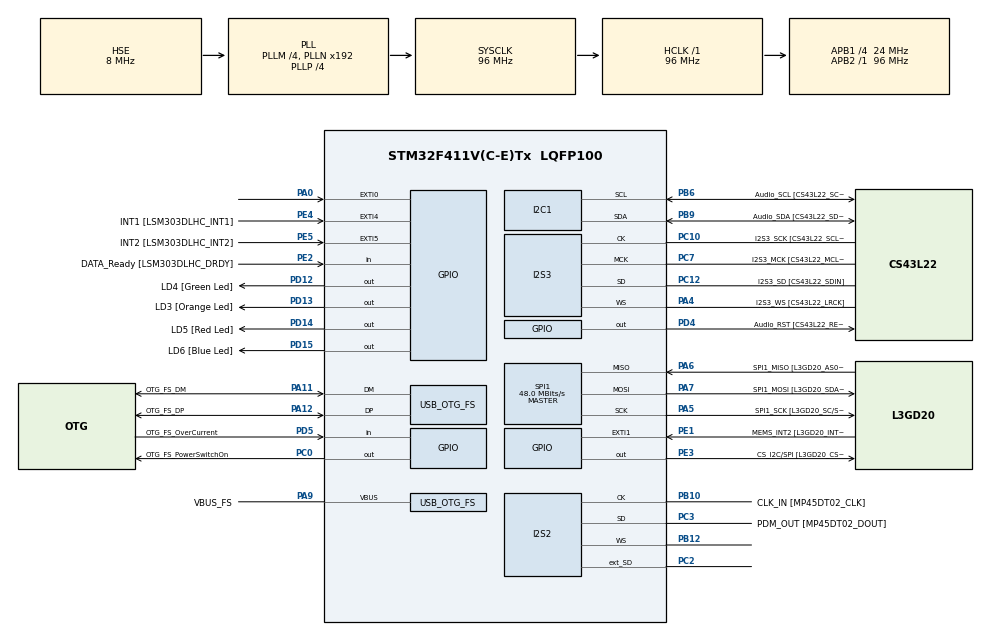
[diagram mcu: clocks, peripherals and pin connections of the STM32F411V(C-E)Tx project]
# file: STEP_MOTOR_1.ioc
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I2S2.AudioFreq=I2S_AUDIOFREQ_96K
I2S2.ErrorAudioFreq=0.15 %
I2S2.FullDuplexMode=I2S_FULLDUPLEXMODE_ENABLE
I2S2.Instance=SPI$Index
I2S2.RealAudioFreq=96.153 KHz
I2S2.VirtualMode=I2S_MODE_MASTER
I2S3.AudioFreq=I2S_AUDIOFREQ_96K
I2S3.ErrorAudioFreq=-6.99 %
I2S3.FullDuplexMode=I2S_FULLDUPLEXMODE_DISABLE
I2S3.Instance=SPI$Index
I2S3.RealAudioFreq=89.285 KHz
I2S3.VirtualMode=I2S_MODE_MASTER
Mcu.Family=STM32F4
Mcu.Name=STM32F411V(C-E)Tx
Mcu.Package=LQFP100
NVIC.OTG_FS_IRQn=true\:0\:0\:false\:false\:true\:true\:true
NVIC.PriorityGroup=NVIC_PRIORITYGROUP_0
PA0-WKUP.Signal=GPXTI0
PA10.GPIO_Label=OTG_FS_ID
PA10.Signal=USB_OTG_FS_ID
PA11.GPIO_Label=OTG_FS_DM
PA11.Mode=Host_Only
PA11.Signal=USB_OTG_FS_DM
PA12.GPIO_Label=OTG_FS_DP
PA12.Mode=Host_Only
PA12.Signal=USB_OTG_FS_DP
PA13.GPIO_Label=SWDIO
PA13.Mode=Serial_Wire
PA13.Signal=SYS_JTMS-SWDIO
PA14.GPIO_Label=SWCLK
PA14.Mode=Serial_Wire
PA14.Signal=SYS_JTCK-SWCLK
PA4.GPIO_Label=I2S3_WS [CS43L22_LRCK]
PA4.GPIO_Mode=GPIO_MODE_AF_PP
PA4.GPIO_PuPd=GPIO_NOPULL
PA4.GPIO_Speed=GPIO_SPEED_FREQ_LOW
PA4.Mode=Half_Duplex_Master
PA4.Signal=I2S3_WS
PA5.GPIO_Label=SPI1_SCK [L3GD20_SC/SPC]
PA5.Mode=Full_Duplex_Master
PA5.Signal=SPI1_SCK
PA6.GPIO_Label=SPI1_MISO [L3GD20_AS0/SDO]
PA6.Mode=Full_Duplex_Master
PA6.Signal=SPI1_MISO
PA7.GPIO_Label=SPI1_MOSI [L3GD20_SDA/SDI/SDO]
PA7.Mode=Full_Duplex_Master
PA7.Signal=SPI1_MOSI
PA9.GPIO_Label=VBUS_FS
PA9.Mode=Activate_VBUS
PA9.Signal=USB_OTG_FS_VBUS
PB10.GPIO_Label=CLK_IN [MP45DT02_CLK]
PB10.Mode=Full_Duplex_Master
PB10.Signal=I2S2_CK
PB12.Mode=Full_Duplex_Master
PB12.Signal=I2S2_WS
PB3.GPIO_Label=SWO
PB3.Signal=SYS_JTDO-SWO
PB6.GPIO_Label=Audio_SCL [CS43L22_SCL]
PB6.GPIO_Mode=GPIO_MODE_AF_OD
PB6.GPIO_PuPd=GPIO_NOPULL
PB6.GPIO_Speed=GPIO_SPEED_FREQ_LOW
PB6.Mode=I2C
PB6.Signal=I2C1_SCL
PB9.GPIO_Label=Audio_SDA [CS43L22_SDA]
PB9.GPIO_Mode=GPIO_MODE_AF_OD
PB9.GPIO_PuPd=GPIO_NOPULL
PB9.GPIO_Speed=GPIO_SPEED_FREQ_LOW
PB9.Mode=I2C
PB9.Signal=I2C1_SDA
PC0.GPIO_Label=OTG_FS_PowerSwitchOn
PC0.PinState=GPIO_PIN_SET
PC0.Signal=GPIO_Output
PC10.GPIO_Label=I2S3_SCK [CS43L22_SCLK]
PC10.GPIO_Mode=GPIO_MODE_AF_PP
PC10.GPIO_PuPd=GPIO_NOPULL
PC10.GPIO_Speed=GPIO_SPEED_FREQ_LOW
PC10.Mode=Half_Duplex_Master
PC10.Signal=I2S3_CK
PC12.GPIO_Label=I2S3_SD [CS43L22_SDIN]
PC12.GPIO_Mode=GPIO_MODE_AF_PP
PC12.GPIO_PuPd=GPIO_NOPULL
PC12.GPIO_Speed=GPIO_SPEED_FREQ_LOW
PC12.Mode=Half_Duplex_Master
PC12.Signal=I2S3_SD
PC14-OSC32_IN.GPIO_Label=PC14-OSC32_IN
PC14-OSC32_IN.Mode=LSE-External-Oscillator
PC14-OSC32_IN.Signal=RCC_OSC32_IN
PC15-OSC32_OUT.GPIO_Label=PC15-OSC32_OUT
PC15-OSC32_OUT.Mode=LSE-External-Oscillator
PC15-OSC32_OUT.Signal=RCC_OSC32_OUT
PC2.Mode=Full_Duplex_Master
PC2.Signal=I2S2_ext_SD
PC3.GPIO_Label=PDM_OUT [MP45DT02_DOUT]
PC3.Mode=Full_Duplex_Master
PC3.Signal=I2S2_SD
PC7.GPIO_Label=I2S3_MCK [CS43L22_MCLK]
PC7.GPIO_Mode=GPIO_MODE_AF_PP
PC7.GPIO_PuPd=GPIO_NOPULL
PC7.GPIO_Speed=GPIO_SPEED_FREQ_LOW
PC7.Mode=Master_Clock_Activated
PC7.Signal=I2S3_MCK
PD12.GPIO_Label=LD4 [Green Led]
PD12.GPIO_PuPd=GPIO_NOPULL
PD12.GPIO_Speed=GPIO_SPEED_FREQ_LOW
PD12.Signal=GPIO_Output
PD13.GPIO_Label=LD3 [Orange Led]
PD13.GPIO_PuPd=GPIO_NOPULL
PD13.GPIO_Speed=GPIO_SPEED_FREQ_LOW
PD13.Signal=GPIO_Output
PD14.GPIO_Label=LD5 [Red Led]
PD14.GPIO_PuPd=GPIO_NOPULL
PD14.GPIO_Speed=GPIO_SPEED_FREQ_LOW
PD14.Signal=GPIO_Output
PD15.GPIO_Label=LD6 [Blue Led]
PD15.GPIO_PuPd=GPIO_NOPULL
PD15.GPIO_Speed=GPIO_SPEED_FREQ_LOW
PD15.Signal=GPIO_Output
PD4.GPIO_Label=Audio_RST [CS43L22_RESET]
PD4.Signal=GPIO_Output
PD5.GPIO_Label=OTG_FS_OverCurrent
PD5.Signal=GPIO_Input
PE1.GPIO_Label=MEMS_INT2 [L3GD20_INT2]
PE1.GPIO_ModeDefaultEXTI=GPIO_MODE_EVT_RISING
PE1.Signal=GPXTI1
PE2.GPIO_Label=DATA_Ready [LSM303DLHC_DRDY]
PE2.Signal=GPIO_Input
PE3.GPIO_Label=CS_I2C/SPI [L3GD20_CS_I2C/SPI]
PE3.Signal=GPIO_Output
PE4.GPIO_Label=INT1 [LSM303DLHC_INT1]
PE4.GPIO_ModeDefaultEXTI=GPIO_MODE_EVT_RISING
PE4.Signal=GPXTI4
PE5.GPIO_Label=INT2 [LSM303DLHC_INT2]
PE5.GPIO_ModeDefaultEXTI=GPIO_MODE_EVT_RISING
PE5.Signal=GPXTI5
PH0\ -\ OSC_IN.GPIO_Label=PH0-OSC_IN
PH0\ -\ OSC_IN.Mode=HSE-External-Clock-Source
PH0\ -\ OSC_IN.Signal=RCC_OSC_IN
PH1\ -\ OSC_OUT.GPIO_Label=PH1-OSC_OUT
PH1\ -\ OSC_OUT.Mode=HSE-External-Clock-Source
PH1\ -\ OSC_OUT.Signal=RCC_OSC_OUT
ProjectManager.HeapSize=0x200
ProjectManager.StackSize=0x400
ProjectManager.TargetToolchain=STM32CubeIDE
RCC.48MHZClocksFreq_Value=48000000
RCC.AHBFreq_Value=96000000
RCC.APB1CLKDivider=RCC_HCLK_DIV4
RCC.APB1Freq_Value=24000000
RCC.APB1TimFreq_Value=48000000
RCC.APB2Freq_Value=96000000
RCC.APB2TimFreq_Value=96000000
RCC.CortexFreq_Value=96000000
RCC.HCLKFreq_Value=96000000
RCC.HSE_VALUE=8000000
RCC.HSI_VALUE=16000000
RCC.PLLI2SM=5
RCC.PLLI2SN=200
RCC.PLLM=4
RCC.PLLP=RCC_PLLP_DIV4
RCC.PLLQ=8
RCC.SYSCLKFreq_VALUE=96000000
RCC.SYSCLKSource=RCC_SYSCLKSOURCE_PLLCLK
RCC.VCOOutputFreq_Value=384000000
SPI1.BaudRatePrescaler=SPI_BAUDRATEPRESCALER_2
SPI1.CalculateBaudRate=48.0 MBits/s
SPI1.Direction=SPI_DIRECTION_2LINES
SPI1.Mode=SPI_MODE_MASTER
SPI1.VirtualType=VM_MASTER
USB_HOST.BSP.number=1
USB_HOST.USBH_HandleTypeDef=hUsbHostFS
USB_HOST.VirtualModeFS=Cdc
USB_HOST0.BSP.STBoard=false
USB_HOST0.BSP.api=Unknown
USB_HOST0.BSP.i2caddr=0
USB_HOST0.BSP.i2creg=0
USB_HOST0.BSP.instance=PC0
USB_HOST0.BSP.ip=GPIO
USB_HOST0.BSP.mode=Output
USB_HOST0.BSP.name=Drive_VBUS_FS
USB_HOST0.BSP.solution=PC0
USB_OTG_FS.VirtualMode=Host_Only
USB_OTG_FS.phy_itface=HCD_PHY_EMBEDDED
VP_USB_HOST_VS_USB_HOST_CDC_FS.Mode=CDC_FS
board=STM32F411E-DISCO

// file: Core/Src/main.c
/* USER CODE BEGIN Header */
/**
  ******************************************************************************
  * @file           : main.c
  * @brief          : Main program body
  ******************************************************************************
  * @attention
  *
  * <h2><center>&copy; Copyright (c) 2020 STMicroelectronics.
  * All rights reserved.</center></h2>
  *
  * This software component is licensed by ST under Ultimate Liberty license
  * SLA0044, the "License"; You may not use this file except in compliance with
  * the License. You may obtain a copy of the License at:
  *                             www.st.com/SLA0044
  *
  ******************************************************************************
  */
/* USER CODE END Header */

#include "main.h"
#include "usb_host.h"

I2C_HandleTypeDef hi2c1;

I2S_HandleTypeDef hi2s2;
I2S_HandleTypeDef hi2s3;

SPI_HandleTypeDef hspi1;

void SystemClock_Config(void);
static void MX_GPIO_Init(void);
static void MX_I2C1_Init(void);
static void MX_I2S2_Init(void);
static void MX_I2S3_Init(void);
static void MX_SPI1_Init(void);
void MX_USB_HOST_Process(void);

int main(void)
{

  /* MCU Configuration--------------------------------------------------------*/

  /* Reset of all peripherals, Initializes the Flash interface and the Systick. */
  HAL_Init();

  /* Configure the system clock */
  SystemClock_Config();

  /* Initialize all configured peripherals */
  MX_GPIO_Init();
  MX_I2C1_Init();
  MX_I2S2_Init();
  MX_I2S3_Init();
  MX_SPI1_Init();
  MX_USB_HOST_Init();

  /* Infinite loop */
  /* USER CODE BEGIN WHILE */
      /* USER CODE END 2 */

      /* Infinite loop */
      /* USER CODE BEGIN WHILE */

    void move_in_direction(int direction, int DELAY){
      int PINS[4];
      if (direction == 0){
    	  PINS[0] = GPIO_PIN_12; PINS[1] = GPIO_PIN_13; PINS[2] = GPIO_PIN_14; PINS[3] = GPIO_PIN_15;
      }
      else if (direction == 1){
    	  PINS[0] = GPIO_PIN_15; PINS[1] = GPIO_PIN_14; PINS[2] = GPIO_PIN_13; PINS[3] = GPIO_PIN_12;
      }

	  for(int i = 0; i < 4; i++){
		  for (int j = 0; j < 4; j++){
		  			HAL_GPIO_WritePin(GPIOD, PINS[j], GPIO_PIN_RESET);
		  		  }
		  HAL_GPIO_WritePin(GPIOD, PINS[i], GPIO_PIN_SET);

		  HAL_Delay(DELAY);
	  }
	  for (int j = 0; j < 4; j++){
	  		  			HAL_GPIO_WritePin(GPIOD, PINS[j], GPIO_PIN_RESET);
	  		  		  }
    }

    void move_on_degree(int degree, int DELAY, int direction){
    	int times = degree *2 * DELAY/2;
    	for (int i = 0; i < times; i++){
    		move_in_direction(direction, DELAY);
    	}
    }

    int DELAY=2;
      while (1)
      {
    /* USER CODE END WHILE */
    //MX_USB_HOST_Process();
    	  move_on_degree(180, DELAY, 1);
    	  HAL_Delay(1000);
    	  move_on_degree(180, DELAY, 0);
    	  HAL_Delay(1000);
    	  //move_in_direction(1, DELAY);
      }
}

void SystemClock_Config(void)
{
  RCC_OscInitTypeDef RCC_OscInitStruct = {0};
  RCC_ClkInitTypeDef RCC_ClkInitStruct = {0};
  RCC_PeriphCLKInitTypeDef PeriphClkInitStruct = {0};

  /** Configure the main internal regulator output voltage
  */
  __HAL_RCC_PWR_CLK_ENABLE();
  __HAL_PWR_VOLTAGESCALING_CONFIG(PWR_REGULATOR_VOLTAGE_SCALE1);
  /** Initializes the CPU, AHB and APB busses clocks
  */
  RCC_OscInitStruct.OscillatorType = RCC_OSCILLATORTYPE_HSE;
  RCC_OscInitStruct.HSEState = RCC_HSE_BYPASS;
  RCC_OscInitStruct.PLL.PLLState = RCC_PLL_ON;
  RCC_OscInitStruct.PLL.PLLSource = RCC_PLLSOURCE_HSE;
  RCC_OscInitStruct.PLL.PLLM = 4;
  RCC_OscInitStruct.PLL.PLLN = 192;
  RCC_OscInitStruct.PLL.PLLP = RCC_PLLP_DIV4;
  RCC_OscInitStruct.PLL.PLLQ = 8;
  if (HAL_RCC_OscConfig(&RCC_OscInitStruct) != HAL_OK)
  {
    Error_Handler();
  }
  /** Initializes the CPU, AHB and APB busses clocks
  */
  RCC_ClkInitStruct.ClockType = RCC_CLOCKTYPE_HCLK|RCC_CLOCKTYPE_SYSCLK
                              |RCC_CLOCKTYPE_PCLK1|RCC_CLOCKTYPE_PCLK2;
  RCC_ClkInitStruct.SYSCLKSource = RCC_SYSCLKSOURCE_PLLCLK;
  RCC_ClkInitStruct.AHBCLKDivider = RCC_SYSCLK_DIV1;
  RCC_ClkInitStruct.APB1CLKDivider = RCC_HCLK_DIV4;
  RCC_ClkInitStruct.APB2CLKDivider = RCC_HCLK_DIV1;

  if (HAL_RCC_ClockConfig(&RCC_ClkInitStruct, FLASH_LATENCY_3) != HAL_OK)
  {
    Error_Handler();
  }
  PeriphClkInitStruct.PeriphClockSelection = RCC_PERIPHCLK_I2S;
  PeriphClkInitStruct.PLLI2S.PLLI2SN = 200;
  PeriphClkInitStruct.PLLI2S.PLLI2SM = 5;
  PeriphClkInitStruct.PLLI2S.PLLI2SR = 2;
  if (HAL_RCCEx_PeriphCLKConfig(&PeriphClkInitStruct) != HAL_OK)
  {
    Error_Handler();
  }
}

static void MX_I2C1_Init(void)
{

  hi2c1.Instance = I2C1;
  hi2c1.Init.ClockSpeed = 100000;
  hi2c1.Init.DutyCycle = I2C_DUTYCYCLE_2;
  hi2c1.Init.OwnAddress1 = 0;
  hi2c1.Init.AddressingMode = I2C_ADDRESSINGMODE_7BIT;
  hi2c1.Init.DualAddressMode = I2C_DUALADDRESS_DISABLE;
  hi2c1.Init.OwnAddress2 = 0;
  hi2c1.Init.GeneralCallMode = I2C_GENERALCALL_DISABLE;
  hi2c1.Init.NoStretchMode = I2C_NOSTRETCH_DISABLE;
  if (HAL_I2C_Init(&hi2c1) != HAL_OK)
  {
    Error_Handler();
  }

}

static void MX_I2S2_Init(void)
{

  hi2s2.Instance = SPI2;
  hi2s2.Init.Mode = I2S_MODE_MASTER_TX;
  hi2s2.Init.Standard = I2S_STANDARD_PHILIPS;
  hi2s2.Init.DataFormat = I2S_DATAFORMAT_16B;
  hi2s2.Init.MCLKOutput = I2S_MCLKOUTPUT_DISABLE;
  hi2s2.Init.AudioFreq = I2S_AUDIOFREQ_96K;
  hi2s2.Init.CPOL = I2S_CPOL_LOW;
  hi2s2.Init.ClockSource = I2S_CLOCK_PLL;
  hi2s2.Init.FullDuplexMode = I2S_FULLDUPLEXMODE_ENABLE;
  if (HAL_I2S_Init(&hi2s2) != HAL_OK)
  {
    Error_Handler();
  }

}

static void MX_I2S3_Init(void)
{

  hi2s3.Instance = SPI3;
  hi2s3.Init.Mode = I2S_MODE_MASTER_TX;
  hi2s3.Init.Standard = I2S_STANDARD_PHILIPS;
  hi2s3.Init.DataFormat = I2S_DATAFORMAT_16B;
  hi2s3.Init.MCLKOutput = I2S_MCLKOUTPUT_ENABLE;
  hi2s3.Init.AudioFreq = I2S_AUDIOFREQ_96K;
  hi2s3.Init.CPOL = I2S_CPOL_LOW;
  hi2s3.Init.ClockSource = I2S_CLOCK_PLL;
  hi2s3.Init.FullDuplexMode = I2S_FULLDUPLEXMODE_DISABLE;
  if (HAL_I2S_Init(&hi2s3) != HAL_OK)
  {
    Error_Handler();
  }

}

static void MX_SPI1_Init(void)
{

  /* SPI1 parameter configuration*/
  hspi1.Instance = SPI1;
  hspi1.Init.Mode = SPI_MODE_MASTER;
  hspi1.Init.Direction = SPI_DIRECTION_2LINES;
  hspi1.Init.DataSize = SPI_DATASIZE_8BIT;
  hspi1.Init.CLKPolarity = SPI_POLARITY_LOW;
  hspi1.Init.CLKPhase = SPI_PHASE_1EDGE;
  hspi1.Init.NSS = SPI_NSS_SOFT;
  hspi1.Init.BaudRatePrescaler = SPI_BAUDRATEPRESCALER_2;
  hspi1.Init.FirstBit = SPI_FIRSTBIT_MSB;
  hspi1.Init.TIMode = SPI_TIMODE_DISABLE;
  hspi1.Init.CRCCalculation = SPI_CRCCALCULATION_DISABLE;
  hspi1.Init.CRCPolynomial = 10;
  if (HAL_SPI_Init(&hspi1) != HAL_OK)
  {
    Error_Handler();
  }

}

static void MX_GPIO_Init(void)
{
  GPIO_InitTypeDef GPIO_InitStruct = {0};

  /* GPIO Ports Clock Enable */
  __HAL_RCC_GPIOE_CLK_ENABLE();
  __HAL_RCC_GPIOC_CLK_ENABLE();
  __HAL_RCC_GPIOH_CLK_ENABLE();
  __HAL_RCC_GPIOA_CLK_ENABLE();
  __HAL_RCC_GPIOB_CLK_ENABLE();
  __HAL_RCC_GPIOD_CLK_ENABLE();

  /*Configure GPIO pin Output Level */
  HAL_GPIO_WritePin(CS_I2C_SPI_GPIO_Port, CS_I2C_SPI_Pin, GPIO_PIN_RESET);

  /*Configure GPIO pin Output Level */
  HAL_GPIO_WritePin(OTG_FS_PowerSwitchOn_GPIO_Port, OTG_FS_PowerSwitchOn_Pin, GPIO_PIN_SET);

  /*Configure GPIO pin Output Level */
  HAL_GPIO_WritePin(GPIOD, LD4_Pin|LD3_Pin|LD5_Pin|LD6_Pin
                          |Audio_RST_Pin, GPIO_PIN_RESET);

  /*Configure GPIO pin : DATA_Ready_Pin */
  GPIO_InitStruct.Pin = DATA_Ready_Pin;
  GPIO_InitStruct.Mode = GPIO_MODE_INPUT;
  GPIO_InitStruct.Pull = GPIO_NOPULL;
  HAL_GPIO_Init(DATA_Ready_GPIO_Port, &GPIO_InitStruct);

  /*Configure GPIO pin : CS_I2C_SPI_Pin */
  GPIO_InitStruct.Pin = CS_I2C_SPI_Pin;
  GPIO_InitStruct.Mode = GPIO_MODE_OUTPUT_PP;
  GPIO_InitStruct.Pull = GPIO_NOPULL;
  GPIO_InitStruct.Speed = GPIO_SPEED_FREQ_LOW;
  HAL_GPIO_Init(CS_I2C_SPI_GPIO_Port, &GPIO_InitStruct);

  /*Configure GPIO pins : INT1_Pin INT2_Pin MEMS_INT2_Pin */
  GPIO_InitStruct.Pin = INT1_Pin|INT2_Pin|MEMS_INT2_Pin;
  GPIO_InitStruct.Mode = GPIO_MODE_EVT_RISING;
  GPIO_InitStruct.Pull = GPIO_NOPULL;
  HAL_GPIO_Init(GPIOE, &GPIO_InitStruct);

  /*Configure GPIO pin : OTG_FS_PowerSwitchOn_Pin */
  GPIO_InitStruct.Pin = OTG_FS_PowerSwitchOn_Pin;
  GPIO_InitStruct.Mode = GPIO_MODE_OUTPUT_PP;
  GPIO_InitStruct.Pull = GPIO_NOPULL;
  GPIO_InitStruct.Speed = GPIO_SPEED_FREQ_LOW;
  HAL_GPIO_Init(OTG_FS_PowerSwitchOn_GPIO_Port, &GPIO_InitStruct);

  /*Configure GPIO pin : PA0 */
  GPIO_InitStruct.Pin = GPIO_PIN_0;
  GPIO_InitStruct.Mode = GPIO_MODE_IT_RISING;
  GPIO_InitStruct.Pull = GPIO_NOPULL;
  HAL_GPIO_Init(GPIOA, &GPIO_InitStruct);

  /*Configure GPIO pins : LD4_Pin LD3_Pin LD5_Pin LD6_Pin
                           Audio_RST_Pin */
  GPIO_InitStruct.Pin = LD4_Pin|LD3_Pin|LD5_Pin|LD6_Pin
                          |Audio_RST_Pin;
  GPIO_InitStruct.Mode = GPIO_MODE_OUTPUT_PP;
  GPIO_InitStruct.Pull = GPIO_NOPULL;
  GPIO_InitStruct.Speed = GPIO_SPEED_FREQ_LOW;
  HAL_GPIO_Init(GPIOD, &GPIO_InitStruct);

  /*Configure GPIO pin : OTG_FS_OverCurrent_Pin */
  GPIO_InitStruct.Pin = OTG_FS_OverCurrent_Pin;
  GPIO_InitStruct.Mode = GPIO_MODE_INPUT;
  GPIO_InitStruct.Pull = GPIO_NOPULL;
  HAL_GPIO_Init(OTG_FS_OverCurrent_GPIO_Port, &GPIO_InitStruct);

}

void Error_Handler(void)
{
}

/************************ (C) COPYRIGHT STMicroelectronics *****END OF FILE****/
